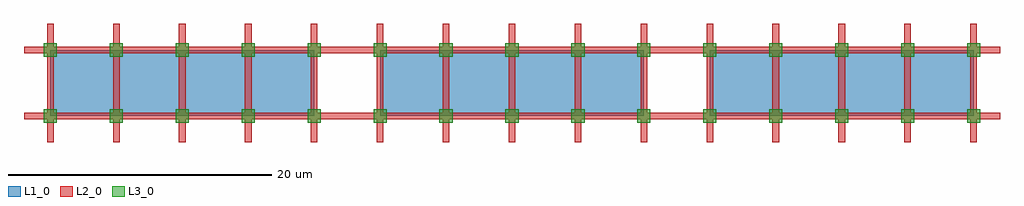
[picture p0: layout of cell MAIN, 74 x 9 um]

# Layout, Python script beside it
import gdspy
import numpy as np

# Create a new library
lib = gdspy.GdsLibrary()

# Create a new cell
cell = lib.new_cell('MAIN')

# Layer definitions
layer_active = 1
layer_poly = 2
layer_contact = 3

# Active region dimensions
active_width = 20
active_height = 5
active_spacing = 5

# Create active regions
for i in range(3):
    x = i * (active_width + active_spacing)
    rectangle = gdspy.Rectangle((x, 0), (x + active_width, active_height), layer=layer_active)
    cell.add(rectangle)

# Polysilicon gate pattern
poly_width = 0.5
grid_pitch_x = 5
grid_pitch_y = 5
total_width = 3 * active_width + 2 * active_spacing
total_height = active_height

# Vertical lines
for x in np.arange(0, total_width + grid_pitch_x, grid_pitch_x):
    line = gdspy.Rectangle((x - poly_width/2, -2), (x + poly_width/2, total_height + 2), layer=layer_poly)
    cell.add(line)

# Horizontal lines
for y in np.arange(0, total_height + grid_pitch_y, grid_pitch_y):
    line = gdspy.Rectangle((-2, y - poly_width/2), (total_width + 2, y + poly_width/2), layer=layer_poly)
    cell.add(line)

# Contact holes
contact_size = 1
for i in range(3):
    active_x = i * (active_width + active_spacing)
    for x in np.arange(active_x, active_x + active_width + grid_pitch_x, grid_pitch_x):
        for y in np.arange(0, active_height + grid_pitch_y, grid_pitch_y):
            if active_x <= x <= active_x + active_width:
                contact = gdspy.Rectangle(
                    (x - contact_size/2, y - contact_size/2),
                    (x + contact_size/2, y + contact_size/2),
                    layer=layer_contact
                )
                cell.add(contact)

# Save the layout to a GDSII file
lib.write_gds('layout.gds')

# Display all cells using the internal viewer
